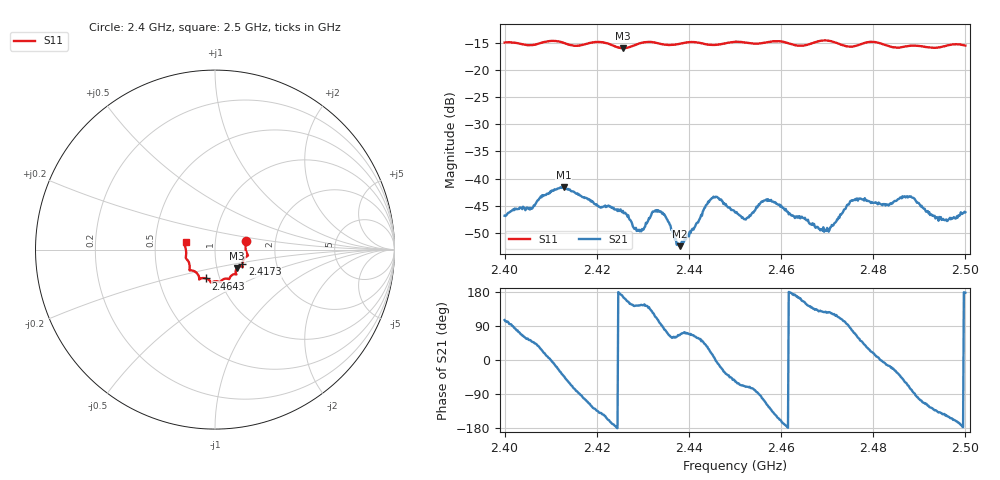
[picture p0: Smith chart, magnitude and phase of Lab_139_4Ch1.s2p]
# Hz S RI R 50
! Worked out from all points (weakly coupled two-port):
!   601 points, 2.4 GHz to 2.5 GHz, reference 50 ohm
!   highest |S21| = -41.57 dB at 2.4128 GHz (marker M1); lowest = -52.5 dB at 2.438 GHz (marker M2)
!   lowest |S11| = -15.9 dB at 2.4257 GHz (marker M3), VSWR 1.38, Z = 62.4 - j13.1 ohm
!   |S11| at or under -10 dB: start of sweep to end of sweep
!   S12 and S22 are empty: the file has one direction only
!   S11 on the Smith chart (normalised r, x): 2.4 GHz: 1.41, +0.14; 2.4173 GHz: 1.34, -0.23; 2.4643 GHz: 0.86, -0.28; 2.5 GHz: 0.72, +0.06
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2.4e9  0.1733 0.0497  -0.0012 0.00437  0 0  0 0
2.405667e9  0.1703 0.00549  0.00333 0.0042  0 0  0 0
2.412833e9  0.1747 -0.0393  0.00615 -0.00564  0 0  0 0
2.416667e9  0.1531 -0.0748  -0.000382 -0.00685  0 0  0 0
2.417333e9  0.1525 -0.0823  -0.0014 -0.00645  0 0  0 0
2.425667e9  0.1224 -0.1024  -0.0049 0.0011  0 0  0 0
2.429167e9  0.1164 -0.1322  -0.00272 0.00197  0 0  0 0
2.433333e9  0.1127 -0.1368  -0.00131 0.00493  0 0  0 0
2.434833e9  0.1027 -0.1379  0.000827 0.00444  0 0  0 0
2.438e9  0.0829 -0.1545  0.000985 0.00216  0 0  0 0
2.445e9  0.0555 -0.162  0.00637 0.00174  0 0  0 0
2.45e9  0.0295 -0.181  0.00269 -0.00406  0 0  0 0
2.4525e9  0.0205 -0.1784  0.00144 -0.00404  0 0  0 0
2.457333e9  -0.0153 -0.182  -0.00355 -0.00512  0 0  0 0
2.464333e9  -0.0503 -0.1608  -0.00414 0.00151  0 0  0 0
2.466667e9  -0.0764 -0.1598  -0.00281 0.00245  0 0  0 0
2.470333e9  -0.0873 -0.1656  -0.00191 0.0026  0 0  0 0
2.476e9  -0.1163 -0.1195  0.00216 0.00604  0 0  0 0
2.483333e9  -0.141 -0.0894  0.00544 -0.00146  0 0  0 0
2.487833e9  -0.1598 -0.0516  0.00211 -0.00651  0 0  0 0
2.494e9  -0.1619 -0.00153  -0.00312 -0.00295  0 0  0 0
2.5e9  -0.1636 0.0419  -0.00488 0.000219  0 0  0 0
